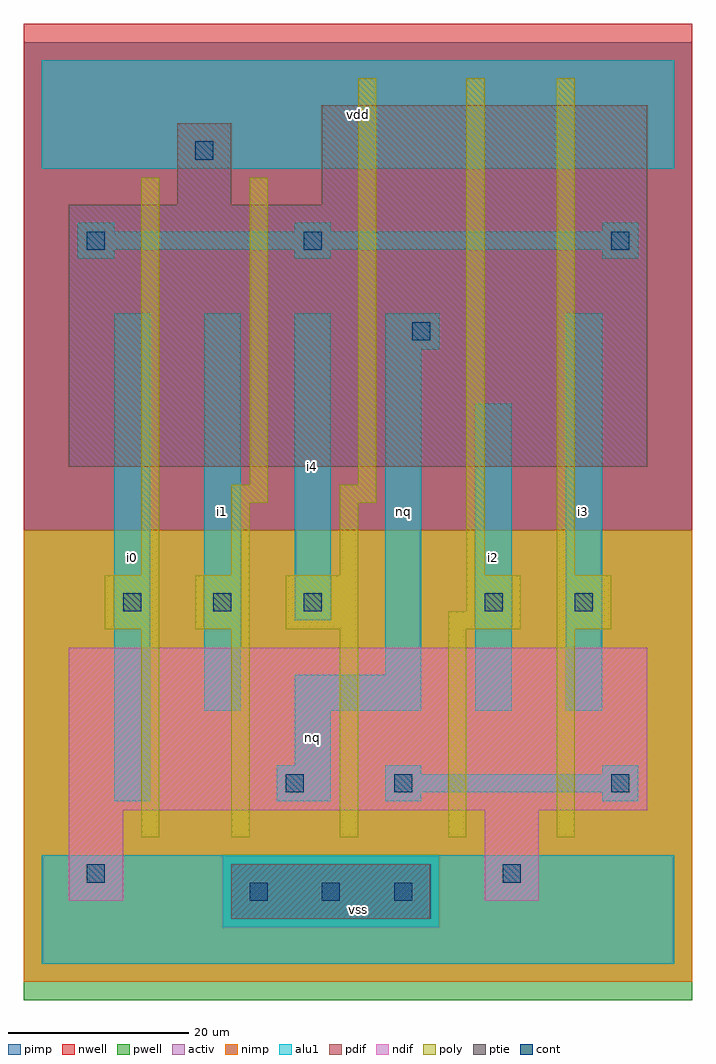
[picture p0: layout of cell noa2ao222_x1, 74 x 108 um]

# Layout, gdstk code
import gdstk
lib = gdstk.Library(unit=1e-6, precision=1e-09)
def R(c, l, rs):  # rectangles x0, y0, x1, y1
    for r in rs: c.add(gdstk.rectangle(r[:2], r[2:], *l))
def A(c, l, x, y, w, h, nx, ny, dx, dy):  # array of equal rectangles
    R(c, l, [(x+i*dx, y+j*dy, x+i*dx+w, y+j*dy+h) for i in range(nx) for j in range(ny)])
ndif = (3, 0)
pdif = (4, 0)
ptie = (6, 0)
cont = (25, 0)
pwell = (41, 0)
nwell = (42, 0)
activ = (43, 0)
pimp = (44, 0)
nimp = (45, 0)
poly = (46, 0)
alu1 = (49, 0)

noa2ao222_x1 = lib.new_cell('noa2ao222_x1')
R(noa2ao222_x1, ndif, [(3,7,9,17), (49,7,55,17), (3,17,67,35)])
R(noa2ao222_x1, pdif, [(3,55,67,84), (15,84,21,93), (31,84,67,95)])
R(noa2ao222_x1, ptie, [(21,5,43,11)])
A(noa2ao222_x1, cont, 23, 7, 2, 2, 3, 1, 8, 0)
A(noa2ao222_x1, cont, 9, 39, 2, 2, 3, 1, 10, 0)
R(noa2ao222_x1, cont, [(5,9,7,11), (51,9,53,11), (27,19,29,21), (39,19,41,21), (63,19,65,21), (49,39,51,41), (59,39,61,41), (41,69,43,71), (5,79,7,81), (29,79,31,81), (63,79,65,81), (17,89,19,91)])
R(noa2ao222_x1, pwell, [(-2,-4,72,48)])
R(noa2ao222_x1, nwell, [(-2,48,72,104)])
R(noa2ao222_x1, activ, [(21,5,43,11), (3,7,9,17), (49,7,55,17), (3,17,67,35), (3,55,67,84), (15,84,21,93), (31,84,67,95)])
R(noa2ao222_x1, pimp, [(20,4,44,12), (-2,48,72,102)])
R(noa2ao222_x1, nimp, [(-2,-2,72,4), (-2,4,20,12), (44,4,72,12), (-2,12,72,48)])
A(noa2ao222_x1, poly, 21, 14, 2, 23, 4, 1, 12, 0)
R(noa2ao222_x1, poly, [(11,14,13,37), (7,37,13,43), (17,37,23,43), (27,37,35,43), (45,37,53,39), (57,37,63,43), (47,39,53,43), (11,43,13,87), (21,43,23,51), (33,43,35,51), (47,43,49,98), (57,43,59,98), (21,51,25,53), (33,51,37,53), (23,53,25,87), (35,53,37,98)])
R(noa2ao222_x1, alu1, [(0,0,70,12), (8,18,12,72), (26,18,32,22), (38,18,42,19), (62,18,66,19), (38,19,66,21), (38,21,42,22), (62,21,66,22), (28,22,32,28), (18,28,22,72), (28,28,42,32), (48,28,52,62), (58,28,62,72), (38,32,42,68), (28,38,32,72), (38,68,44,72), (4,78,8,79), (28,78,32,79), (62,78,66,79), (4,79,66,81), (4,81,8,82), (28,81,32,82), (62,81,66,82), (0,88,70,100)])
noa2ao222_x1.add(gdstk.Label('i0', (10,45), layer=49, texttype=0))
noa2ao222_x1.add(gdstk.Label('nq', (30,25), layer=49, texttype=0))
noa2ao222_x1.add(gdstk.Label('i4', (30,55), layer=49, texttype=0))
noa2ao222_x1.add(gdstk.Label('i1', (20,50), layer=49, texttype=0))
noa2ao222_x1.add(gdstk.Label('vss', (35,6), layer=49, texttype=0))
noa2ao222_x1.add(gdstk.Label('i2', (50,45), layer=49, texttype=0))
noa2ao222_x1.add(gdstk.Label('nq', (40,50), layer=49, texttype=0))
noa2ao222_x1.add(gdstk.Label('vdd', (35,94), layer=49, texttype=0))
noa2ao222_x1.add(gdstk.Label('i3', (60,50), layer=49, texttype=0))

lib.write_gds('noa2ao222_x1.gds')
